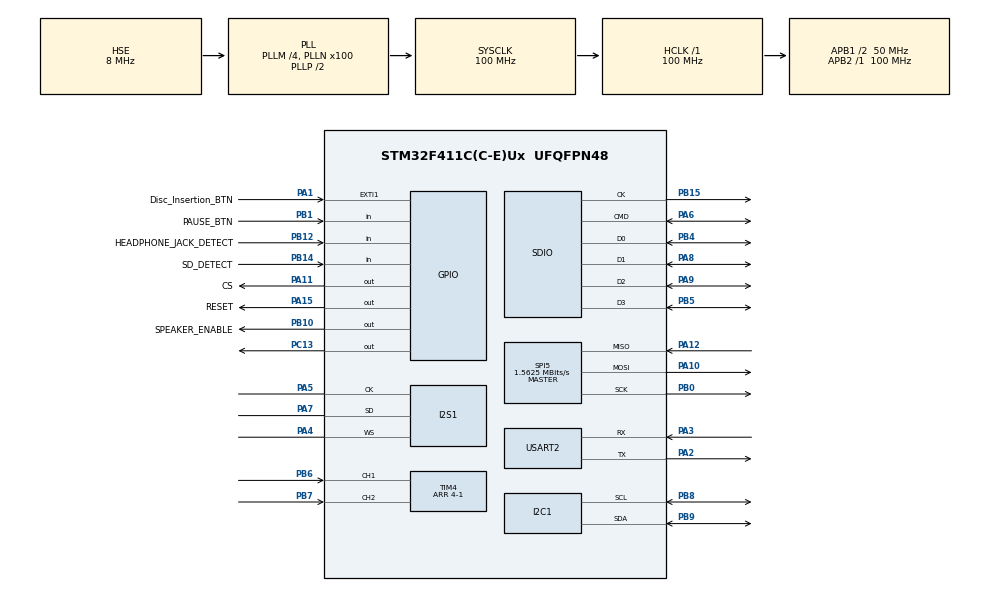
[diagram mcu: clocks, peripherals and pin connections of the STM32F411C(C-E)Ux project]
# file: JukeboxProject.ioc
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Dma.Request0=SPI1_TX
Dma.Request1=SDIO
Dma.SDIO.1.Direction=DMA_PERIPH_TO_MEMORY
Dma.SDIO.1.FIFOMode=DMA_FIFOMODE_ENABLE
Dma.SDIO.1.FIFOThreshold=DMA_FIFO_THRESHOLD_FULL
Dma.SDIO.1.Instance=DMA2_Stream3
Dma.SDIO.1.MemBurst=DMA_MBURST_INC4
Dma.SDIO.1.MemDataAlignment=DMA_MDATAALIGN_WORD
Dma.SDIO.1.MemInc=DMA_MINC_ENABLE
Dma.SDIO.1.Mode=DMA_PFCTRL
Dma.SDIO.1.PeriphBurst=DMA_PBURST_INC4
Dma.SDIO.1.PeriphDataAlignment=DMA_PDATAALIGN_WORD
Dma.SDIO.1.PeriphInc=DMA_PINC_DISABLE
Dma.SDIO.1.Priority=DMA_PRIORITY_LOW
Dma.SPI1_TX.0.Direction=DMA_MEMORY_TO_PERIPH
Dma.SPI1_TX.0.FIFOMode=DMA_FIFOMODE_ENABLE
Dma.SPI1_TX.0.FIFOThreshold=DMA_FIFO_THRESHOLD_FULL
Dma.SPI1_TX.0.Instance=DMA2_Stream2
Dma.SPI1_TX.0.MemBurst=DMA_MBURST_SINGLE
Dma.SPI1_TX.0.MemDataAlignment=DMA_MDATAALIGN_HALFWORD
Dma.SPI1_TX.0.MemInc=DMA_MINC_ENABLE
Dma.SPI1_TX.0.Mode=DMA_CIRCULAR
Dma.SPI1_TX.0.PeriphBurst=DMA_PBURST_SINGLE
Dma.SPI1_TX.0.PeriphDataAlignment=DMA_PDATAALIGN_HALFWORD
Dma.SPI1_TX.0.PeriphInc=DMA_PINC_DISABLE
Dma.SPI1_TX.0.Priority=DMA_PRIORITY_LOW
FATFS.BSP.number=1
FATFS.USE_DMA_CODE_SD=1
FATFS._MAX_SS=4096
FATFS._USE_LFN=3
FATFS0.BSP.STBoard=false
FATFS0.BSP.api=Unknown
FATFS0.BSP.instance=PB14
FATFS0.BSP.ip=GPIO
FATFS0.BSP.mode=Input
FATFS0.BSP.name=Detect_SDIO
FATFS0.BSP.solution=PB14
I2C1.I2C_Mode=I2C_Fast
I2S1.AudioFreq=I2S_AUDIOFREQ_44K
I2S1.ErrorAudioFreq=0.26 %
I2S1.FullDuplexMode=I2S_FULLDUPLEXMODE_DISABLE
I2S1.Instance=SPI$Index
I2S1.RealAudioFreq=44.117 KHz
I2S1.VirtualMode=I2S_MODE_MASTER
Mcu.Family=STM32F4
Mcu.Name=STM32F411C(C-E)Ux
Mcu.Package=UFQFPN48
NVIC.DMA2_Stream2_IRQn=true\:0\:0\:false\:false\:true\:false\:true\:true
NVIC.DMA2_Stream3_IRQn=true\:0\:0\:false\:false\:true\:false\:true\:true
NVIC.EXTI1_IRQn=true\:0\:0\:false\:false\:true\:true\:true\:true
NVIC.PriorityGroup=NVIC_PRIORITYGROUP_4
NVIC.SDIO_IRQn=true\:0\:0\:false\:false\:true\:true\:true\:true
NVIC.TIM1_CC_IRQn=true\:0\:0\:false\:false\:true\:true\:true\:true
NVIC.TIM1_UP_TIM10_IRQn=true\:0\:0\:false\:false\:true\:true\:true\:true
NVIC.TIM2_IRQn=true\:0\:0\:false\:false\:true\:true\:true\:true
NVIC.TIM4_IRQn=true\:0\:0\:false\:false\:true\:true\:true\:true
PA1.GPIO_Label=Disc_Insertion_BTN
PA1.GPIO_ModeDefaultEXTI=GPIO_MODE_IT_FALLING
PA1.GPIO_PuPd=GPIO_PULLUP
PA1.Signal=GPXTI1
PA10.Mode=Full_Duplex_Master
PA10.Signal=SPI5_MOSI
PA11.GPIO_Label=CS
PA11.Signal=GPIO_Output
PA12.Mode=Full_Duplex_Master
PA12.Signal=SPI5_MISO
PA13.Mode=Serial_Wire
PA13.Signal=SYS_JTMS-SWDIO
PA14.Mode=Serial_Wire
PA14.Signal=SYS_JTCK-SWCLK
PA15.GPIO_Label=RESET
PA15.Signal=GPIO_Output
PA2.Mode=Asynchronous
PA2.Signal=USART2_TX
PA3.Mode=Asynchronous
PA3.Signal=USART2_RX
PA4.Mode=Half_Duplex_Master
PA4.Signal=I2S1_WS
PA5.Mode=Half_Duplex_Master
PA5.Signal=I2S1_CK
PA6.GPIO_PuPd=GPIO_PULLUP
PA6.Mode=SD_4_bits_Wide_bus
PA6.Signal=SDIO_CMD
PA7.Mode=Half_Duplex_Master
PA7.Signal=I2S1_SD
PA8.GPIO_PuPd=GPIO_PULLUP
PA8.Mode=SD_4_bits_Wide_bus
PA8.Signal=SDIO_D1
PA9.GPIO_PuPd=GPIO_PULLUP
PA9.Mode=SD_4_bits_Wide_bus
PA9.Signal=SDIO_D2
PB0.Mode=Full_Duplex_Master
PB0.Signal=SPI5_SCK
PB1.GPIO_Label=PAUSE_BTN
PB1.GPIO_PuPd=GPIO_PULLUP
PB1.Signal=GPIO_Input
PB10.GPIO_Label=SPEAKER_ENABLE
PB10.GPIO_PuPd=GPIO_PULLUP
PB10.Signal=GPIO_Output
PB12.GPIO_Label=HEADPHONE_JACK_DETECT
PB12.Signal=GPIO_Input
PB14.GPIO_Label=SD_DETECT
PB14.Signal=GPIO_Input
PB15.Mode=SD_4_bits_Wide_bus
PB15.Signal=SDIO_CK
PB4.GPIO_PuPd=GPIO_PULLUP
PB4.Mode=SD_4_bits_Wide_bus
PB4.Signal=SDIO_D0
PB5.GPIO_PuPd=GPIO_PULLUP
PB5.Mode=SD_4_bits_Wide_bus
PB5.Signal=SDIO_D3
PB6.Signal=S_TIM4_CH1
PB7.Signal=S_TIM4_CH2
PB8.Mode=I2C
PB8.Signal=I2C1_SCL
PB9.Mode=I2C
PB9.Signal=I2C1_SDA
PC13-ANTI_TAMP.Signal=GPIO_Output
PH0\ -\ OSC_IN.Mode=HSE-External-Oscillator
PH0\ -\ OSC_IN.Signal=RCC_OSC_IN
PH1\ -\ OSC_OUT.Mode=HSE-External-Oscillator
PH1\ -\ OSC_OUT.Signal=RCC_OSC_OUT
ProjectManager.HeapSize=0x200
ProjectManager.StackSize=0x400
ProjectManager.TargetToolchain=STM32CubeIDE
RCC.48MHZClocksFreq_Value=40000000
RCC.AHBFreq_Value=100000000
RCC.APB1CLKDivider=RCC_HCLK_DIV2
RCC.APB1Freq_Value=50000000
RCC.APB1TimFreq_Value=100000000
RCC.APB2Freq_Value=100000000
RCC.APB2TimFreq_Value=100000000
RCC.CortexFreq_Value=100000000
RCC.HCLKFreq_Value=100000000
RCC.HSE_VALUE=8000000
RCC.HSI_VALUE=16000000
RCC.LSE_VALUE=32768
RCC.PLLI2SM=4
RCC.PLLM=4
RCC.PLLN=100
RCC.PLLQ=5
RCC.PLLSourceVirtual=RCC_PLLSOURCE_HSE
RCC.SYSCLKFreq_VALUE=100000000
RCC.SYSCLKSource=RCC_SYSCLKSOURCE_PLLCLK
RCC.VCOOutputFreq_Value=200000000
SH.S_TIM4_CH1.0=TIM4_CH1,Encoder_Interface
SH.S_TIM4_CH2.0=TIM4_CH2,Encoder_Interface
SPI5.BaudRatePrescaler=SPI_BAUDRATEPRESCALER_64
SPI5.CalculateBaudRate=1.5625 MBits/s
SPI5.Direction=SPI_DIRECTION_2LINES
SPI5.Mode=SPI_MODE_MASTER
SPI5.VirtualType=VM_MASTER
TIM1.Period=1000-1
TIM1.Prescaler=10000-1
TIM1.TIM_MasterOutputTrigger=TIM_TRGO_UPDATE
TIM2.Period=2500-1
TIM2.Prescaler=10000-1
TIM2.TIM_MasterOutputTrigger=TIM_TRGO_UPDATE
TIM4.AutoReloadPreload=TIM_AUTORELOAD_PRELOAD_DISABLE
TIM4.EncoderMode=TIM_ENCODERMODE_TI12
TIM4.IC1Filter=12
TIM4.IC2Filter=12
TIM4.Period=4-1
USART2.VirtualMode=VM_ASYNC
VP_FATFS_VS_SDIO.Mode=SDIO
VP_TIM1_VS_ClockSourceINT.Mode=Internal
VP_TIM2_VS_ClockSourceINT.Mode=Internal
board=custom

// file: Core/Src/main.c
/* USER CODE BEGIN Header */
/**
  ******************************************************************************
  * @file           : main.c
  * @brief          : Main program body
  ******************************************************************************
  * @attention
  *
  * Copyright (c) 2026 STMicroelectronics.
  * All rights reserved.
  *
  * This software is licensed under terms that can be found in the LICENSE file
  * in the root directory of this software component.
  * If no LICENSE file comes with this software, it is provided AS-IS.
  *
  ******************************************************************************
  */
/* USER CODE END Header */
#include "main.h"
#include "fatfs.h"

/* USER CODE BEGIN Includes */
#include <string.h>
#include "SSD1306Driver.h"
#include "MFRC522_STM32.h"
#include "WavPlayer.h"
/* USER CODE END Includes */

/* USER CODE BEGIN PD */

#define TAU 6.28318530717958647692

/* USER CODE END PD */

I2C_HandleTypeDef hi2c1;

I2S_HandleTypeDef hi2s1;
DMA_HandleTypeDef hdma_spi1_tx;

SD_HandleTypeDef hsd;
DMA_HandleTypeDef hdma_sdio;

SPI_HandleTypeDef hspi5;

TIM_HandleTypeDef htim1;
TIM_HandleTypeDef htim2;
TIM_HandleTypeDef htim4;

UART_HandleTypeDef huart2;

/* USER CODE BEGIN PV */

// ---- OLED redraw throttle (set by TIM2 ISR, checked once per main loop) --
volatile uint8_t oledNeedsRedraw = 0;

// ---- Idle-screen animation (jukebox icon + flashing arrow) --------------
// Toggled every TIM2 tick (250ms) -> 2Hz blinking rate
static volatile uint8_t arrowBlinkOn = 0;

// ---- RFID detection, triggered by the disc-press button on PA1 ----------
// The button's EXTI ISR only arms a burst -- it must NOT call
// MFRC522_RequestA() itself (each call can block tens of ms; 8 of them
// back-to-back inside an interrupt could stall I2S refills for most of
// a second). The main loop steps the burst one poll at a time, 100ms
// apart, same timing discipline as the old continuous TIM1 poll.
#define RFID_BURST_POLL_COUNT      4   // total polls per button press
#define RFID_BURST_CONFIRM_COUNT   1   // need at least this many "present" results
#define RFID_POLL_INTERVAL_MS      100 // spacing between polls within a burst
#define BUTTON_DEBOUNCE_MS         300 // ignore re-triggers faster than this

typedef enum { RFID_BURST_IDLE, RFID_BURST_ACTIVE } RfidBurstState_t;
static volatile RfidBurstState_t burstState = RFID_BURST_IDLE; // set by EXTI ISR, cleared by main loop
static uint32_t burstLastPollTime = 0;
static uint8_t  burstPollsRemaining = 0;
static uint8_t  burstGoodCount = 0;
static uint32_t lastButtonEventTime = 0;

typedef enum { DISC_ABSENT, DISC_PRESENT } DiscState_t;
static DiscState_t discState = DISC_ABSENT;

// ---- UI polling (volume pot, pause button, headphone jack) --------------
#define UI_POLL_INTERVAL_MS 20
static uint32_t uiLastPoll = 0;
static volatile uint8_t volumePercent = 100;
static uint8_t headphoneConnected = 0;
static uint8_t pauseButtonWasDown = 0;

// ---- Song table: RFID UID -> WAV file on the SD card ---------------------
// Add one entry per tag. Filenames are LFN paths
typedef struct {
    uint8_t uid[4];
    const char *filePath;
} SongEntry_t;

static const SongEntry_t songTable[] = {
	{ {0xD0, 0xF6, 0xFF, 0x5C}, "Alpha.WAV" },
    { {0x10, 0x27, 0x00, 0x56}, "Cat.WAV" },
	{ {0xD0, 0x8A, 0x78, 0x5C}, "Blocks.WAV" },
	{ {0xC7, 0x6D, 0x8D, 0x64}, "Chirp.WAV"  },
	{ {0xD0, 0x3B, 0x70, 0x5C}, "Far.WAV"  },
	{ {0x21, 0x56, 0x62, 0x64}, "Mall.WAV"  },
	{ {0xD0, 0xE6, 0x7C, 0x5C}, "Mellohi.WAV" },
	{ {0x21, 0x73, 0x3A, 0x64}, "Stal.WAV" },
	{ {0xE0, 0x5B, 0x7D, 0x5C}, "Strad.WAV" },
	{ {0xD0, 0xE6, 0x6A, 0x5C}, "Ward.WAV" },
	{ {0x00, 0x17, 0x1A, 0x56}, "Wait.WAV" },
	{ {0xC0, 0xD9, 0x2F, 0x5C}, "Pigstep.WAV" },
	{ {0x71, 0x9B, 0x3E, 0x6E}, "Otherside.WAV" },
	{ {0xD0, 0x92, 0xA2, 0x5C}, "Relic.WAV" },
	{ {0x10, 0x0C, 0x10, 0x56}, "Melonkale.WAV" },
};
#define SONG_TABLE_COUNT (sizeof(songTable) / sizeof(songTable[0]))

static const SongEntry_t *find_song_by_uid(const uint8_t *uid)
{
    for (uint32_t i = 0; i < SONG_TABLE_COUNT; i++)
        if (memcmp(songTable[i].uid, uid, 4) == 0)
            return &songTable[i];
    return NULL;
}

/* USER CODE END PV */

void SystemClock_Config(void);
static void MX_GPIO_Init(void);
static void MX_DMA_Init(void);
static void MX_I2S1_Init(void);
static void MX_SDIO_SD_Init(void);
static void MX_SPI5_Init(void);
static void MX_I2C1_Init(void);
static void MX_USART2_UART_Init(void);
static void MX_TIM1_Init(void);
static void MX_TIM2_Init(void);
static void MX_TIM4_Init(void);

/* USER CODE BEGIN 0 */
int _write(int fd, unsigned char *buf, int len) {
  if (fd == 1 || fd == 2) {                     // stdout or stderr ?
    HAL_UART_Transmit(&huart2, buf, len, HAL_MAX_DELAY);  // Print to the UART
  }
  return len;
}

uint8_t uid[4];
MFRC522_t rfID = {&hspi5, CS_GPIO_Port, CS_Pin, RESET_GPIO_Port, RESET_Pin};
WavPlayer_t player;

static void RFID_BurstStep(MFRC522_t *dev, WavPlayer_t *wp);
static void UI_Poll(WavPlayer_t *wp);
static void OLED_Redraw(WavPlayer_t *wp);

/* USER CODE END 0 */

int main(void)
{

  /* MCU Configuration--------------------------------------------------------*/

  /* Reset of all peripherals, Initializes the Flash interface and the Systick. */
  HAL_Init();

  /* Configure the system clock */
  SystemClock_Config();

  /* Initialize all configured peripherals */
  MX_GPIO_Init();
  MX_DMA_Init();
  MX_I2S1_Init();
  MX_SDIO_SD_Init();
  MX_SPI5_Init();
  MX_I2C1_Init();
  MX_USART2_UART_Init();
  MX_FATFS_Init();
  MX_TIM1_Init();
  MX_TIM2_Init();
  MX_TIM4_Init();
  /* USER CODE BEGIN 2 */

  // HAL_TIM_Base_Start_IT(&htim1);
  HAL_TIM_Base_Start_IT(&htim2);
  HAL_TIM_Encoder_Start(&htim4, TIM_CHANNEL_ALL);
  __HAL_TIM_ENABLE_IT(&htim4, TIM_IT_UPDATE);

  ssd1306_init();

  MFRC522_Init(&rfID);

  WavPlayer_Init(&player);
  WavPlayer_SetVolume(volumePercent);

  FRESULT mountResult = f_mount(&SDFatFS, SDPath, 1); // 1 = mount now
  if (mountResult != FR_OK)
  {
      printf("SD mount failed: FRESULT=%d\r\n", mountResult);
      Error_Handler();
  }
  printf("SD mounted OK\r\n");

  printf("\n\n\n---------------------\nStarting jukebox\n");

  /* USER CODE END 2 */

  /* Infinite loop */
  /* USER CODE BEGIN WHILE */
  while (1)
  {
	  // 1. I2s DMA feed is of HIGHEST PRIORITY
	  WavPlayer_Poll(&player);

	  if (WavPlayer_IsFinished(&player))
	  {
		  WavPlayer_Stop(&player); // record's done -- go quiet until next tag
	  }

	  // 2. UI peripherals -- encoder volume, encoder pause button, headphone jack.
	  // Polled every 20ms
	  UI_Poll(&player);

	  // 3. RFID -- a DISC-PRESS on PA1 sets the RFID_BURST_ACTIVE flag
	  //    and starts an 8-poll burst (see HAL_GPIO_EXTI_Callback);
	  //    RFID_BurstStep() advances it one poll per 100ms.
	  //    Immediately returns if the RFID_BURST_ACTIVE flag is not set.
	  RFID_BurstStep(&rfID, &player);

	  // 4. OLED -- updated every 250ms by flag set by the TIM2 ISR,
	  //    not redrawn every single pass.
	  if (oledNeedsRedraw)
	  {
		  oledNeedsRedraw = 0;
		  OLED_Redraw(&player);
	  }

    /* USER CODE END WHILE */

  }
}

void SystemClock_Config(void)
{
  RCC_OscInitTypeDef RCC_OscInitStruct = {0};
  RCC_ClkInitTypeDef RCC_ClkInitStruct = {0};

  /** Configure the main internal regulator output voltage
  */
  __HAL_RCC_PWR_CLK_ENABLE();
  __HAL_PWR_VOLTAGESCALING_CONFIG(PWR_REGULATOR_VOLTAGE_SCALE1);

  /** Initializes the RCC Oscillators according to the specified parameters
  * in the RCC_OscInitTypeDef structure.
  */
  RCC_OscInitStruct.OscillatorType = RCC_OSCILLATORTYPE_HSE;
  RCC_OscInitStruct.HSEState = RCC_HSE_ON;
  RCC_OscInitStruct.PLL.PLLState = RCC_PLL_ON;
  RCC_OscInitStruct.PLL.PLLSource = RCC_PLLSOURCE_HSE;
  RCC_OscInitStruct.PLL.PLLM = 4;
  RCC_OscInitStruct.PLL.PLLN = 100;
  RCC_OscInitStruct.PLL.PLLP = RCC_PLLP_DIV2;
  RCC_OscInitStruct.PLL.PLLQ = 5;
  if (HAL_RCC_OscConfig(&RCC_OscInitStruct) != HAL_OK)
  {
    Error_Handler();
  }

  /** Initializes the CPU, AHB and APB buses clocks
  */
  RCC_ClkInitStruct.ClockType = RCC_CLOCKTYPE_HCLK|RCC_CLOCKTYPE_SYSCLK
                              |RCC_CLOCKTYPE_PCLK1|RCC_CLOCKTYPE_PCLK2;
  RCC_ClkInitStruct.SYSCLKSource = RCC_SYSCLKSOURCE_PLLCLK;
  RCC_ClkInitStruct.AHBCLKDivider = RCC_SYSCLK_DIV1;
  RCC_ClkInitStruct.APB1CLKDivider = RCC_HCLK_DIV2;
  RCC_ClkInitStruct.APB2CLKDivider = RCC_HCLK_DIV1;

  if (HAL_RCC_ClockConfig(&RCC_ClkInitStruct, FLASH_LATENCY_3) != HAL_OK)
  {
    Error_Handler();
  }
}

static void MX_I2C1_Init(void)
{

  hi2c1.Instance = I2C1;
  hi2c1.Init.ClockSpeed = 400000;
  hi2c1.Init.DutyCycle = I2C_DUTYCYCLE_2;
  hi2c1.Init.OwnAddress1 = 0;
  hi2c1.Init.AddressingMode = I2C_ADDRESSINGMODE_7BIT;
  hi2c1.Init.DualAddressMode = I2C_DUALADDRESS_DISABLE;
  hi2c1.Init.OwnAddress2 = 0;
  hi2c1.Init.GeneralCallMode = I2C_GENERALCALL_DISABLE;
  hi2c1.Init.NoStretchMode = I2C_NOSTRETCH_DISABLE;
  if (HAL_I2C_Init(&hi2c1) != HAL_OK)
  {
    Error_Handler();
  }

}

static void MX_I2S1_Init(void)
{

  hi2s1.Instance = SPI1;
  hi2s1.Init.Mode = I2S_MODE_MASTER_TX;
  hi2s1.Init.Standard = I2S_STANDARD_PHILIPS;
  hi2s1.Init.DataFormat = I2S_DATAFORMAT_16B;
  hi2s1.Init.MCLKOutput = I2S_MCLKOUTPUT_DISABLE;
  hi2s1.Init.AudioFreq = I2S_AUDIOFREQ_44K;
  hi2s1.Init.CPOL = I2S_CPOL_LOW;
  hi2s1.Init.ClockSource = I2S_CLOCK_PLL;
  hi2s1.Init.FullDuplexMode = I2S_FULLDUPLEXMODE_DISABLE;
  if (HAL_I2S_Init(&hi2s1) != HAL_OK)
  {
    Error_Handler();
  }

}

static void MX_SDIO_SD_Init(void)
{

  hsd.Instance = SDIO;
  hsd.Init.ClockEdge = SDIO_CLOCK_EDGE_RISING;
  hsd.Init.ClockBypass = SDIO_CLOCK_BYPASS_DISABLE;
  hsd.Init.ClockPowerSave = SDIO_CLOCK_POWER_SAVE_DISABLE;
  hsd.Init.BusWide = SDIO_BUS_WIDE_1B;
  hsd.Init.HardwareFlowControl = SDIO_HARDWARE_FLOW_CONTROL_DISABLE;
  hsd.Init.ClockDiv = 0;
  /* USER CODE BEGIN SDIO_Init 2 */
  hsd.Init.BusWide = SDIO_BUS_WIDE_1B;
  /* USER CODE END SDIO_Init 2 */

}

static void MX_SPI5_Init(void)
{

  /* SPI5 parameter configuration*/
  hspi5.Instance = SPI5;
  hspi5.Init.Mode = SPI_MODE_MASTER;
  hspi5.Init.Direction = SPI_DIRECTION_2LINES;
  hspi5.Init.DataSize = SPI_DATASIZE_8BIT;
  hspi5.Init.CLKPolarity = SPI_POLARITY_LOW;
  hspi5.Init.CLKPhase = SPI_PHASE_1EDGE;
  hspi5.Init.NSS = SPI_NSS_SOFT;
  hspi5.Init.BaudRatePrescaler = SPI_BAUDRATEPRESCALER_64;
  hspi5.Init.FirstBit = SPI_FIRSTBIT_MSB;
  hspi5.Init.TIMode = SPI_TIMODE_DISABLE;
  hspi5.Init.CRCCalculation = SPI_CRCCALCULATION_DISABLE;
  hspi5.Init.CRCPolynomial = 10;
  if (HAL_SPI_Init(&hspi5) != HAL_OK)
  {
    Error_Handler();
  }

}

static void MX_TIM1_Init(void)
{

  TIM_ClockConfigTypeDef sClockSourceConfig = {0};
  TIM_MasterConfigTypeDef sMasterConfig = {0};

  htim1.Instance = TIM1;
  htim1.Init.Prescaler = 10000-1;
  htim1.Init.CounterMode = TIM_COUNTERMODE_UP;
  htim1.Init.Period = 1000-1;
  htim1.Init.ClockDivision = TIM_CLOCKDIVISION_DIV1;
  htim1.Init.RepetitionCounter = 0;
  htim1.Init.AutoReloadPreload = TIM_AUTORELOAD_PRELOAD_DISABLE;
  if (HAL_TIM_Base_Init(&htim1) != HAL_OK)
  {
    Error_Handler();
  }
  sClockSourceConfig.ClockSource = TIM_CLOCKSOURCE_INTERNAL;
  if (HAL_TIM_ConfigClockSource(&htim1, &sClockSourceConfig) != HAL_OK)
  {
    Error_Handler();
  }
  sMasterConfig.MasterOutputTrigger = TIM_TRGO_UPDATE;
  sMasterConfig.MasterSlaveMode = TIM_MASTERSLAVEMODE_DISABLE;
  if (HAL_TIMEx_MasterConfigSynchronization(&htim1, &sMasterConfig) != HAL_OK)
  {
    Error_Handler();
  }

}

static void MX_TIM2_Init(void)
{

  TIM_ClockConfigTypeDef sClockSourceConfig = {0};
  TIM_MasterConfigTypeDef sMasterConfig = {0};

  htim2.Instance = TIM2;
  htim2.Init.Prescaler = 10000-1;
  htim2.Init.CounterMode = TIM_COUNTERMODE_UP;
  htim2.Init.Period = 2500-1;
  htim2.Init.ClockDivision = TIM_CLOCKDIVISION_DIV1;
  htim2.Init.AutoReloadPreload = TIM_AUTORELOAD_PRELOAD_DISABLE;
  if (HAL_TIM_Base_Init(&htim2) != HAL_OK)
  {
    Error_Handler();
  }
  sClockSourceConfig.ClockSource = TIM_CLOCKSOURCE_INTERNAL;
  if (HAL_TIM_ConfigClockSource(&htim2, &sClockSourceConfig) != HAL_OK)
  {
    Error_Handler();
  }
  sMasterConfig.MasterOutputTrigger = TIM_TRGO_UPDATE;
  sMasterConfig.MasterSlaveMode = TIM_MASTERSLAVEMODE_DISABLE;
  if (HAL_TIMEx_MasterConfigSynchronization(&htim2, &sMasterConfig) != HAL_OK)
  {
    Error_Handler();
  }

}

static void MX_TIM4_Init(void)
{

  TIM_Encoder_InitTypeDef sConfig = {0};
  TIM_MasterConfigTypeDef sMasterConfig = {0};

  htim4.Instance = TIM4;
  htim4.Init.Prescaler = 0;
  htim4.Init.CounterMode = TIM_COUNTERMODE_UP;
  htim4.Init.Period = 4-1;
  htim4.Init.ClockDivision = TIM_CLOCKDIVISION_DIV1;
  htim4.Init.AutoReloadPreload = TIM_AUTORELOAD_PRELOAD_DISABLE;
  sConfig.EncoderMode = TIM_ENCODERMODE_TI12;
  sConfig.IC1Polarity = TIM_ICPOLARITY_RISING;
  sConfig.IC1Selection = TIM_ICSELECTION_DIRECTTI;
  sConfig.IC1Prescaler = TIM_ICPSC_DIV1;
  sConfig.IC1Filter = 12;
  sConfig.IC2Polarity = TIM_ICPOLARITY_RISING;
  sConfig.IC2Selection = TIM_ICSELECTION_DIRECTTI;
  sConfig.IC2Prescaler = TIM_ICPSC_DIV1;
  sConfig.IC2Filter = 12;
  if (HAL_TIM_Encoder_Init(&htim4, &sConfig) != HAL_OK)
  {
    Error_Handler();
  }
  sMasterConfig.MasterOutputTrigger = TIM_TRGO_RESET;
  sMasterConfig.MasterSlaveMode = TIM_MASTERSLAVEMODE_DISABLE;
  if (HAL_TIMEx_MasterConfigSynchronization(&htim4, &sMasterConfig) != HAL_OK)
  {
    Error_Handler();
  }

}

static void MX_USART2_UART_Init(void)
{

  huart2.Instance = USART2;
  huart2.Init.BaudRate = 115200;
  huart2.Init.WordLength = UART_WORDLENGTH_8B;
  huart2.Init.StopBits = UART_STOPBITS_1;
  huart2.Init.Parity = UART_PARITY_NONE;
  huart2.Init.Mode = UART_MODE_TX_RX;
  huart2.Init.HwFlowCtl = UART_HWCONTROL_NONE;
  huart2.Init.OverSampling = UART_OVERSAMPLING_16;
  if (HAL_UART_Init(&huart2) != HAL_OK)
  {
    Error_Handler();
  }

}

static void MX_DMA_Init(void)
{

  /* DMA controller clock enable */
  __HAL_RCC_DMA2_CLK_ENABLE();

  /* DMA interrupt init */
  /* DMA2_Stream2_IRQn interrupt configuration */
  HAL_NVIC_SetPriority(DMA2_Stream2_IRQn, 0, 0);
  HAL_NVIC_EnableIRQ(DMA2_Stream2_IRQn);
  /* DMA2_Stream3_IRQn interrupt configuration */
  HAL_NVIC_SetPriority(DMA2_Stream3_IRQn, 0, 0);
  HAL_NVIC_EnableIRQ(DMA2_Stream3_IRQn);

}

static void MX_GPIO_Init(void)
{
  GPIO_InitTypeDef GPIO_InitStruct = {0};

  /* GPIO Ports Clock Enable */
  __HAL_RCC_GPIOC_CLK_ENABLE();
  __HAL_RCC_GPIOH_CLK_ENABLE();
  __HAL_RCC_GPIOA_CLK_ENABLE();
  __HAL_RCC_GPIOB_CLK_ENABLE();

  /*Configure GPIO pin Output Level */
  HAL_GPIO_WritePin(GPIOC, GPIO_PIN_13, GPIO_PIN_RESET);

  /*Configure GPIO pin Output Level */
  HAL_GPIO_WritePin(SPEAKER_ENABLE_GPIO_Port, SPEAKER_ENABLE_Pin, GPIO_PIN_RESET);

  /*Configure GPIO pin Output Level */
  HAL_GPIO_WritePin(GPIOA, CS_Pin|RESET_Pin, GPIO_PIN_RESET);

  /*Configure GPIO pin : PC13 */
  GPIO_InitStruct.Pin = GPIO_PIN_13;
  GPIO_InitStruct.Mode = GPIO_MODE_OUTPUT_PP;
  GPIO_InitStruct.Pull = GPIO_NOPULL;
  GPIO_InitStruct.Speed = GPIO_SPEED_FREQ_LOW;
  HAL_GPIO_Init(GPIOC, &GPIO_InitStruct);

  /*Configure GPIO pin : Disc_Insertion_BTN_Pin */
  GPIO_InitStruct.Pin = Disc_Insertion_BTN_Pin;
  GPIO_InitStruct.Mode = GPIO_MODE_IT_FALLING;
  GPIO_InitStruct.Pull = GPIO_PULLUP;
  HAL_GPIO_Init(Disc_Insertion_BTN_GPIO_Port, &GPIO_InitStruct);

  /*Configure GPIO pin : PAUSE_BTN_Pin */
  GPIO_InitStruct.Pin = PAUSE_BTN_Pin;
  GPIO_InitStruct.Mode = GPIO_MODE_INPUT;
  GPIO_InitStruct.Pull = GPIO_PULLUP;
  HAL_GPIO_Init(PAUSE_BTN_GPIO_Port, &GPIO_InitStruct);

  /*Configure GPIO pin : SPEAKER_ENABLE_Pin */
  GPIO_InitStruct.Pin = SPEAKER_ENABLE_Pin;
  GPIO_InitStruct.Mode = GPIO_MODE_OUTPUT_PP;
  GPIO_InitStruct.Pull = GPIO_PULLUP;
  GPIO_InitStruct.Speed = GPIO_SPEED_FREQ_LOW;
  HAL_GPIO_Init(SPEAKER_ENABLE_GPIO_Port, &GPIO_InitStruct);

  /*Configure GPIO pins : HEADPHONE_JACK_DETECT_Pin SD_DETECT_Pin */
  GPIO_InitStruct.Pin = HEADPHONE_JACK_DETECT_Pin|SD_DETECT_Pin;
  GPIO_InitStruct.Mode = GPIO_MODE_INPUT;
  GPIO_InitStruct.Pull = GPIO_NOPULL;
  HAL_GPIO_Init(GPIOB, &GPIO_InitStruct);

  /*Configure GPIO pins : CS_Pin RESET_Pin */
  GPIO_InitStruct.Pin = CS_Pin|RESET_Pin;
  GPIO_InitStruct.Mode = GPIO_MODE_OUTPUT_PP;
  GPIO_InitStruct.Pull = GPIO_NOPULL;
  GPIO_InitStruct.Speed = GPIO_SPEED_FREQ_LOW;
  HAL_GPIO_Init(GPIOA, &GPIO_InitStruct);

  /* EXTI interrupt init*/
  HAL_NVIC_SetPriority(EXTI1_IRQn, 0, 0);
  HAL_NVIC_EnableIRQ(EXTI1_IRQn);

}

/* USER CODE BEGIN 4 */

/*
void HAL_I2C_MasterTxCpltCallback(I2C_HandleTypeDef *hi2c)
{
    if (hi2c->Instance == I2C1)
    {
        ssd1306_dma_tx_complete();
    }
}
*/

void HAL_TIM_PeriodElapsedCallback(TIM_HandleTypeDef *htim)
{
	if (htim->Instance == TIM2)
    {
        oledNeedsRedraw = 1;
        arrowBlinkOn = ! arrowBlinkOn;
    }
    else if (htim->Instance == TIM4)
        {
		// Counter just overflowed (CW click) or underflowed (CCW click).
		// __HAL_TIM_IS_TIM_COUNTING_DOWN reads CR1's DIR bit, which
		// reflects the direction of the count that triggered this
		// update event.
		if (__HAL_TIM_IS_TIM_COUNTING_DOWN(htim))
		{
			volumePercent = (volumePercent >= 5) ? (volumePercent - 5) : 0;
		}
		else
		{
			volumePercent = (volumePercent <= 95) ? (volumePercent + 5) : 100;
		}
		WavPlayer_SetVolume(volumePercent);
        }
}

// Fires on the disc-press button's falling edge (PA1). Deliberately does
// nothing but set the burst flag (to keep this ISR short).
void HAL_GPIO_EXTI_Callback(uint16_t GPIO_Pin)
{
    if (GPIO_Pin == GPIO_PIN_1)
    {
        uint32_t now = HAL_GetTick();

        // Ignore re-triggers from switch bounce, and ignore a new press
        // while a burst from a previous press is still in progress.
        if (burstState == RFID_BURST_IDLE && (now - lastButtonEventTime) >= BUTTON_DEBOUNCE_MS)
        {
            lastButtonEventTime = now;
            burstPollsRemaining = RFID_BURST_POLL_COUNT;
            burstGoodCount = 0;
            burstLastPollTime = now; // first poll fires ~100ms from now, in the main loop
            burstState = RFID_BURST_ACTIVE;
        }
    }
}

// Call every main-loop pass. Does NOTHING UNLESS a burst is active AND
// 100ms have passed since the last poll within that burst -- so each
// individual (potentially slow) MFRC522_RequestA() call is still spaced
// out exactly like the old continuous polling was (100ms), just bounded
// to 8 calls per button press instead of running forever.
static void RFID_BurstStep(MFRC522_t *dev, WavPlayer_t *wp)
{
    if (burstState != RFID_BURST_ACTIVE) return;

    uint32_t now = HAL_GetTick();
    if ((now - burstLastPollTime) < RFID_POLL_INTERVAL_MS) return;
    burstLastPollTime = now;

    uint8_t localAtqa[2];
    if (MFRC522_RequestA(dev, localAtqa) == STATUS_OK)
    {
        burstGoodCount++;
    }
    burstPollsRemaining--;

    if (burstPollsRemaining > 0) return; // burst still in progress

    // Burst complete -- decide what the button press meant based on
    // whether a disc was already considered present.
    burstState = RFID_BURST_IDLE;
    uint8_t discDetected = (burstGoodCount >= RFID_BURST_CONFIRM_COUNT);
    USER_LOG("Burst result: %u/%u detected", burstGoodCount, RFID_BURST_POLL_COUNT);

    if (discState == DISC_ABSENT)
    {
        if (!discDetected)
        {
            USER_LOG("Insert not confirmed -- press again");
            return;
        }

        if (MFRC522_ReadUid(dev, uid) == STATUS_OK)
        {
            USER_LOG("CARD ID:%02X %02X %02X %02X", uid[0], uid[1], uid[2], uid[3]);

            const SongEntry_t *song = find_song_by_uid(uid);
            if (song)
            {
                USER_LOG("Playing %s", song->filePath);
                if (WavPlayer_Play(wp, song->filePath) != 0)
                {
                    USER_LOG("Failed to open/parse WAV file");
                }
            }
            else
            {
                USER_LOG("Unknown tag -- no song mapped");
            }
        }
        discState = DISC_PRESENT;
    }
    else // DISC_PRESENT
    {
        if (discDetected)
        {
            USER_LOG("Still detected -- removal not confirmed");
            return;
        }

        USER_LOG("Removal confirmed");
        WavPlayer_Stop(wp);
        discState = DISC_ABSENT;
    }
}

static void UI_Poll(WavPlayer_t *wp)
{
    uint32_t now = HAL_GetTick();
    if ((now - uiLastPoll) < UI_POLL_INTERVAL_MS) return;
    uiLastPoll = now;

    // Headphone jack detect
    // Active-low switch (grounds the pin when a plug seats).
    uint8_t hpNow = (HAL_GPIO_ReadPin(HEADPHONE_JACK_DETECT_GPIO_Port,
                                       HEADPHONE_JACK_DETECT_Pin) == GPIO_PIN_RESET);
    if (hpNow != headphoneConnected)
    {
        headphoneConnected = hpNow;
        // Mute/enable the speaker amp via its shutdown pin.
        HAL_GPIO_WritePin(SPEAKER_ENABLE_GPIO_Port, SPEAKER_ENABLE_Pin, headphoneConnected ? GPIO_PIN_RESET : GPIO_PIN_SET);
        headphoneConnected ? USER_LOG("Headphones connected") : USER_LOG("Headphones removed");
    }

    // Pause/unpause button
    // Active-low with internal pull-up. The 20ms poll gate
    // above already acts as a debounce for the encoder button.
    uint8_t btnNow = (HAL_GPIO_ReadPin(PAUSE_BTN_GPIO_Port, PAUSE_BTN_Pin) == GPIO_PIN_RESET);
    if (btnNow && !pauseButtonWasDown) // falling edge
    {
        if (wp->state == WAV_PLAYING) WavPlayer_Pause(wp);
        else if (wp->state == WAV_PAUSED) WavPlayer_Resume(wp);
    }
    pauseButtonWasDown = btnNow;
}

static void OLED_Redraw(WavPlayer_t *wp)
{
    ssd1306_clear_buffer();

    if (wp->state == WAV_IDLE || wp->state == WAV_ERROR)
    {
    	ssd1306_print(16, 52, "INSERT DISC");

        // Isometric jukebox "block" -- wireframe cube: 6 outer edges plus
		// 3 internal edges from the center to alternating vertices, the
		// classic way to fake 3 visible faces on a monochrome display
		// without needing a raster bitmap. Small circle on the top face
		// stands in for the record/disc slot.
		const int cx = 64, cy = 34, s = 10;
		const int top[2]    = {cx,        cy - s};
		const int rTop[2]   = {cx + 9,    cy - s/2};
		const int rBot[2]   = {cx + 9,    cy + s/2};
		const int bot[2]    = {cx,        cy + s};
		const int lBot[2]   = {cx - 9,    cy + s/2};
		const int lTop[2]   = {cx - 9,    cy - s/2};
		const int center[2] = {cx, cy};

		ssd1306_draw_line(top[0], top[1], rTop[0], rTop[1]);
		ssd1306_draw_line(rTop[0], rTop[1], rBot[0], rBot[1]);
		ssd1306_draw_line(rBot[0], rBot[1], bot[0], bot[1]);
		ssd1306_draw_line(bot[0], bot[1], lBot[0], lBot[1]);
		ssd1306_draw_line(lBot[0], lBot[1], lTop[0], lTop[1]);
		ssd1306_draw_line(lTop[0], lTop[1], top[0], top[1]);
		ssd1306_draw_line(center[0], center[1], bot[0], bot[1]);
		ssd1306_draw_line(center[0], center[1], rTop[0], rTop[1]);
		ssd1306_draw_line(center[0], center[1], lTop[0], lTop[1]);
		ssd1306_draw_circle(cx, cy - s/2, 2); // record slot on the top face

		// Flashing arrow above it, pointing down -- only drawn on the
		// "on" half of arrowBlinkOn's 2Hz toggle (set in the TIM2 ISR)
		// Plus music notes after "INSERT DISC"
		if (arrowBlinkOn)
		{
			ssd1306_draw_line(cx, 5, cx, 15);        // shaft
			ssd1306_draw_line(cx, 18, cx - 4, 15);   // left head
			ssd1306_draw_line(cx, 18, cx + 4, 15);   // right head

			ssd1306_print(85, 52, "[][]");
		}
		else {
			ssd1306_print(85, 52, "][][");
		}
    }
    else
    {
        // Song title
    	char titleLine[40];
    	snprintf(titleLine, sizeof(titleLine), "%s.OGG", wp->title);
    	ssd1306_print(4, 4, titleLine);

        // Progress bar (0-255 fraction scaled to a 100px track)
        uint8_t frac = WavPlayer_GetProgressFraction(wp);
        uint8_t barWidth = (uint8_t)(((uint16_t)frac * 100) / 255);
        ssd1306_draw_rect(10, 22, 104, 10);
        ssd1306_filled_rect(12, 24, barWidth, 6);

        // Volume bar (0-100%, increments of 5%)
		ssd1306_draw_rect(10, 56, 104, 6);
		ssd1306_filled_rect(11, 57, (uint8_t)((uint32_t)volumePercent * 102 / 100), 4);

        // Elapsed / total time
        char timeStr[20];
        uint32_t elapsed = WavPlayer_GetElapsedSeconds(wp);
        uint32_t total = WavPlayer_GetTotalSeconds(wp);
        snprintf(timeStr, sizeof(timeStr), "%02lu:%02lu  %02lu:%02lu",
                 elapsed / 60, elapsed % 60, total / 60, total % 60);
        ssd1306_print(10, 36, timeStr);

        if (wp->state == WAV_PAUSED) ssd1306_print(10, 48, "PAUSED");
    }

    ssd1306_update(); // RN : NOT non-blocking, DMA-driven
}

/* USER CODE END 4 */

void Error_Handler(void)
{
  __disable_irq();
  while (1)
  {
  }
}
